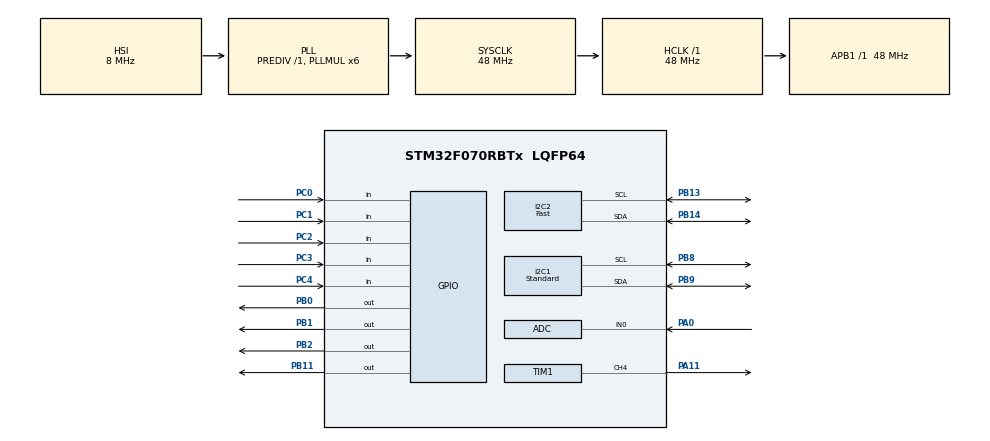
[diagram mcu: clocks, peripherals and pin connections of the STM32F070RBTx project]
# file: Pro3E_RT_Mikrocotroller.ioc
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I2C1.Analog_Filter=I2C_ANALOGFILTER_DISABLE
I2C1.I2C_Speed_Mode=I2C_Standard
I2C1.NoStretchMode=I2C_NOSTRETCH_DISABLE
I2C1.OwnAddress=0x60
I2C1.Speed=50
I2C1.Timing=0x1050DDFF
I2C2.I2C_Speed_Mode=I2C_Fast
I2C2.Timing=0x2010091A
Mcu.Family=STM32F0
Mcu.Name=STM32F070RBTx
Mcu.Package=LQFP64
PA0.Mode=IN0
PA0.Signal=ADC_IN0
PA11.Signal=S_TIM1_CH4
PA13.Mode=Serial_Wire
PA13.Signal=SYS_SWDIO
PA14.Mode=Serial_Wire
PA14.Signal=SYS_SWCLK
PB0.Signal=GPIO_Output
PB1.Signal=GPIO_Output
PB11.Signal=GPIO_Output
PB13.GPIO_Pu=GPIO_PULLUP
PB13.Mode=I2C
PB13.Signal=I2C2_SCL
PB14.GPIO_Pu=GPIO_PULLUP
PB14.Mode=I2C
PB14.Signal=I2C2_SDA
PB2.Signal=GPIO_Output
PB8.GPIO_Pu=GPIO_NOPULL
PB8.GPIO_Speed=GPIO_SPEED_FREQ_HIGH
PB8.Mode=I2C
PB8.Signal=I2C1_SCL
PB9.GPIO_Pu=GPIO_NOPULL
PB9.Mode=I2C
PB9.Signal=I2C1_SDA
PC0.Signal=GPIO_Input
PC1.Signal=GPIO_Input
PC2.Signal=GPIO_Input
PC3.Signal=GPIO_Input
PC4.Signal=GPIO_Input
ProjectManager.HeapSize=0x200
ProjectManager.StackSize=0x400
ProjectManager.TargetToolchain=STM32CubeIDE
RCC.AHBFreq_Value=48000000
RCC.APB1Freq_Value=48000000
RCC.APB1TimFreq_Value=48000000
RCC.HCLKFreq_Value=48000000
RCC.I2c1ClockSelection=RCC_I2C1CLKSOURCE_SYSCLK
RCC.PLLMUL=RCC_PLL_MUL6
RCC.SYSCLKFreq_VALUE=48000000
RCC.SYSCLKSource=RCC_SYSCLKSOURCE_PLLCLK
SH.S_TIM1_CH4.0=TIM1_CH4,PWM Generation4 CH4
TIM1.AutoReloadPreload=TIM_AUTORELOAD_PRELOAD_ENABLE
TIM1.Channel-PWM\ Generation4\ CH4=TIM_CHANNEL_4
TIM1.CounterMode=TIM_COUNTERMODE_UP
TIM1.OCFastMode_PWM-PWM\ Generation4\ CH4=TIM_OCFAST_DISABLE
TIM1.Period=2000
TIM1.Prescaler=0
TIM1.Pulse-PWM\ Generation4\ CH4=0
VP_TIM1_VS_ClockSourceINT.Mode=Internal
board=custom

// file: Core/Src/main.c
/* USER CODE BEGIN Header */
/**
  ******************************************************************************
  * @file           : main.c
  * @brief          : Main program body
  ******************************************************************************
  * @attention
  *
  * <h2><center>&copy; Copyright (c) 2021 STMicroelectronics.
  * All rights reserved.</center></h2>
  *
  * This software component is licensed by ST under BSD 3-Clause license,
  * the "License"; You may not use this file except in compliance with the
  * License. You may obtain a copy of the License at:
  *                        opensource.org/licenses/BSD-3-Clause
  *
  ******************************************************************************
  */
/* USER CODE END Header */
#include "main.h"

/* USER CODE BEGIN Includes */
#include <string.h>
#include <stdio.h>
#include <stdbool.h>
//#include "vcnl4040.h"
#include "ssd1306.h"
#include "ssd1306_tests.h"

/* USER CODE END Includes */

/* USER CODE BEGIN PD */

#define LOWER true
#define UPPER false

#define VCNL4040_ALS_CONF 0x00
#define VCNL4040_ALS_THDH 0x01
#define VCNL4040_ALS_THDL 0x02
#define VCNL4040_PS_CONF1 0x03 //Lower
#define VCNL4040_PS_CONF2 0x03 //Upper
#define VCNL4040_PS_CONF3 0x04 //Lower
#define VCNL4040_PS_MS 0x04 //Upper
#define VCNL4040_PS_CANC 0x05
#define VCNL4040_PS_THDL 0x06
#define VCNL4040_PS_THDH 0x07
#define VCNL4040_PS_DATA 0x08
#define VCNL4040_ALS_DATA 0x09
#define VCNL4040_WHITE_DATA 0x0A
#define VCNL4040_INT_FLAG 0x0B //Upper
#define VCNL4040_ID 0x0C

#define OLED_BORDER_OFFSET 5
#define OLED_LINE_HEIGHT 10

/* USER CODE END PD */

ADC_HandleTypeDef hadc;

I2C_HandleTypeDef hi2c1;
I2C_HandleTypeDef hi2c2;

TIM_HandleTypeDef htim1;

/* USER CODE BEGIN PV */
const uint8_t VCNL4040_ADDR = 0x60<<1; //7-bit unshifted I2C address of VCNL4040
const uint8_t RPZERO_ADDR = 0x03<<1;
HAL_StatusTypeDef send_command_vcnl4040(uint8_t address, uint8_t command, uint16_t data);

/* USER CODE END PV */

void SystemClock_Config(void);
static void MX_GPIO_Init(void);
static void MX_ADC_Init(void);
static void MX_TIM1_Init(void);
static void MX_I2C1_Init(void);
static void MX_I2C2_Init(void);
/* USER CODE BEGIN PFP */
void init_vcnl4040(void);
void receive_data_vcnl4040(void);
void user_pwm_setvalue(uint16_t value);
bool writeCommand(uint8_t commandCode, uint16_t value);
bool writeCommands(uint8_t commandCode, uint8_t lowbyte, uint8_t highbyte);
int32_t readSensor(uint8_t commandCode);
void oled_print(char text[], uint32_t line, SSD1306_COLOR color);

/* USER CODE END PFP */

int main(void)
{

  /* MCU Configuration--------------------------------------------------------*/

  /* Reset of all peripherals, Initializes the Flash interface and the Systick. */
  HAL_Init();

  /* Configure the system clock */
  SystemClock_Config();

  /* Initialize all configured peripherals */
  MX_GPIO_Init();
  MX_ADC_Init();
  MX_TIM1_Init();
  MX_I2C1_Init();
  MX_I2C2_Init();
  /* USER CODE BEGIN 2 */
  //init_vcnl4040();
  uint16_t pwm_value = 0;
  uint16_t step = 0;
  uint16_t prox = 0;
  int32_t CH1_DC = 0;
  char text[20];
  HAL_StatusTypeDef ret;
  uint8_t buf[12];

  HAL_TIM_PWM_Start(&htim1, TIM_CHANNEL_4);
  HAL_GPIO_WritePin(GPIOB, GPIO_PIN_2, GPIO_PIN_SET);

  ssd1306_Init();
  ssd1306_SetDisplayOn(1);
  ssd1306_Fill(White);
  CH1_DC = 10;
  /* USER CODE END 2 */

  /* Infinite loop */
  /* USER CODE BEGIN WHILE */
  while (1)
  {
	  /*setLEDCurrent(50); //Max IR LED current
	  	setIRDutyCycle(40); //Set to highest duty cycle
	  	setProxIntegrationTime(8); //Set to max integration
	  	setProxResolution(16); //Set to 16-bit output
	  	enableSmartPersistance(); //Turn on smart presistance
	  	powerOnProximity(); //Turn on prox sensing*/

	  /*buf[0] = 0x08;
	  // Init register of VCNL4040
		writeCommands(0x04, 0b00010010, 0b00000111); // PS_CONF3_L & PS_MS
		writeCommands(0x03, 0b11001110, 0b00001000); // PS_CONF1_L & PS_CONF2_H
	 // writeCommands(0x04, 0b00001000, 0b00000111); // PS_CONF3_L & PS_MS
	 // writeCommands(0x03, 0b11001111, 0b00001000); // PS_CONF1_L & PS_CONF2_H

	  //writeCommands(0x06, 0x00, 0x00); //PS Threashold

	  while(1){
		  static uint16_t data;
		  static uint16_t interupt;
		  static uint16_t info;
		  static uint16_t als;

		  // write and read back
		  /*while(1){
			  static uint16_t test = 0;
			  writeCommands(0x03, 0b11001110, 0b00001011);
			  test = readSensor(0x03);
		  }*/

		  //read back config registers
	  /*
		  data  = readSensor(0x08);
		  //als = readSensor(0x09);
		  //interupt = readSensor(0x0B);
		  info = readSensor(0x0C);
		  HAL_Delay(2000);
	  }

	  //ret = HAL_I2C_Master_Transmit(&hi2c1, VCNL4040_ADDR, buf[0], 1, HAL_MAX_DELAY);

	  /*while(1)
	  {
		  ret = HAL_I2C_Master_Receive(&hi2c1, VCNL4040_ADDR, buf, 2, HAL_MAX_DELAY);
		  if(ret != HAL_OK){

		  }else{
		  }

		  //send_command_vcnl4040(0x0C);
		 // HAL_I2C_Master_Receive(&hi2c1, VCNL4040_ADDR, data, sizeof(uint8_t), HAL_MAX_DELAY);
		  HAL_Delay(2000);
	  }*/

	  /*
	   * Testfunction for I2C-2 with Raspberry Pi Zero W
	   */
	  //uint8_t cnt = 0;
	  //snprintf(text, sizeof(text), "Test: %d", cnt++);

	 /* while(1){
		  ret = HAL_I2C_Master_Transmit(&hi2c2, RPZERO_ADDR, &cnt,1, HAL_MAX_DELAY);
		  HAL_Delay(200);
		  cnt++;
	  }*/

	  /*
	   * PWM
	   */
	  //HAL_Delay(100);
	  //if(pwm_value == 0) step = 100;
	  //if(pwm_value == 2000) step = -100;
	  //pwm_value += step;
	  //user_pwm_setvalue(pwm_value);

	  //Prescale of PWM: 1000 -> ~8kHz
	  /*while (CH1_DC < 2000)
		{
			TIM1->CCR4 = CH1_DC;
			CH1_DC += 10;
			HAL_Delay(100);
		}
		while(CH1_DC > 0)
		{
			TIM1->CCR4 = CH1_DC;
			CH1_DC -= 10;
			HAL_Delay(100);
		}*/
	  /*/
	   * OLED
	   */
	  static int n = 0;
	  snprintf(text, sizeof(text), "Test: %d", n++);
	  oled_print(text, 1, Black);

/*
	   * VCNL4040
	   */
	  //get Proximity
	  /*
	  prox = getProximity();
	  snprintf(text, sizeof(text), "Dist: %d", prox);
	  oled_print(text, 2, Black);
	  */

	  HAL_Delay(2000);

    /* USER CODE END WHILE */

  }
}

void SystemClock_Config(void)
{
  RCC_OscInitTypeDef RCC_OscInitStruct = {0};
  RCC_ClkInitTypeDef RCC_ClkInitStruct = {0};
  RCC_PeriphCLKInitTypeDef PeriphClkInit = {0};

  /** Initializes the RCC Oscillators according to the specified parameters
  * in the RCC_OscInitTypeDef structure.
  */
  RCC_OscInitStruct.OscillatorType = RCC_OSCILLATORTYPE_HSI|RCC_OSCILLATORTYPE_HSI14;
  RCC_OscInitStruct.HSIState = RCC_HSI_ON;
  RCC_OscInitStruct.HSI14State = RCC_HSI14_ON;
  RCC_OscInitStruct.HSICalibrationValue = RCC_HSICALIBRATION_DEFAULT;
  RCC_OscInitStruct.HSI14CalibrationValue = 16;
  RCC_OscInitStruct.PLL.PLLState = RCC_PLL_ON;
  RCC_OscInitStruct.PLL.PLLSource = RCC_PLLSOURCE_HSI;
  RCC_OscInitStruct.PLL.PLLMUL = RCC_PLL_MUL6;
  RCC_OscInitStruct.PLL.PREDIV = RCC_PREDIV_DIV1;
  if (HAL_RCC_OscConfig(&RCC_OscInitStruct) != HAL_OK)
  {
    Error_Handler();
  }
  /** Initializes the CPU, AHB and APB buses clocks
  */
  RCC_ClkInitStruct.ClockType = RCC_CLOCKTYPE_HCLK|RCC_CLOCKTYPE_SYSCLK
                              |RCC_CLOCKTYPE_PCLK1;
  RCC_ClkInitStruct.SYSCLKSource = RCC_SYSCLKSOURCE_PLLCLK;
  RCC_ClkInitStruct.AHBCLKDivider = RCC_SYSCLK_DIV1;
  RCC_ClkInitStruct.APB1CLKDivider = RCC_HCLK_DIV1;

  if (HAL_RCC_ClockConfig(&RCC_ClkInitStruct, FLASH_LATENCY_1) != HAL_OK)
  {
    Error_Handler();
  }
  PeriphClkInit.PeriphClockSelection = RCC_PERIPHCLK_I2C1;
  PeriphClkInit.I2c1ClockSelection = RCC_I2C1CLKSOURCE_SYSCLK;
  if (HAL_RCCEx_PeriphCLKConfig(&PeriphClkInit) != HAL_OK)
  {
    Error_Handler();
  }
}

static void MX_ADC_Init(void)
{

  ADC_ChannelConfTypeDef sConfig = {0};

  /** Configure the global features of the ADC (Clock, Resolution, Data Alignment and number of conversion)
  */
  hadc.Instance = ADC1;
  hadc.Init.ClockPrescaler = ADC_CLOCK_ASYNC_DIV1;
  hadc.Init.Resolution = ADC_RESOLUTION_12B;
  hadc.Init.DataAlign = ADC_DATAALIGN_RIGHT;
  hadc.Init.ScanConvMode = ADC_SCAN_DIRECTION_FORWARD;
  hadc.Init.EOCSelection = ADC_EOC_SINGLE_CONV;
  hadc.Init.LowPowerAutoWait = DISABLE;
  hadc.Init.LowPowerAutoPowerOff = DISABLE;
  hadc.Init.ContinuousConvMode = DISABLE;
  hadc.Init.DiscontinuousConvMode = DISABLE;
  hadc.Init.ExternalTrigConv = ADC_SOFTWARE_START;
  hadc.Init.ExternalTrigConvEdge = ADC_EXTERNALTRIGCONVEDGE_NONE;
  hadc.Init.DMAContinuousRequests = DISABLE;
  hadc.Init.Overrun = ADC_OVR_DATA_PRESERVED;
  if (HAL_ADC_Init(&hadc) != HAL_OK)
  {
    Error_Handler();
  }
  /** Configure for the selected ADC regular channel to be converted.
  */
  sConfig.Channel = ADC_CHANNEL_0;
  sConfig.Rank = ADC_RANK_CHANNEL_NUMBER;
  sConfig.SamplingTime = ADC_SAMPLETIME_1CYCLE_5;
  if (HAL_ADC_ConfigChannel(&hadc, &sConfig) != HAL_OK)
  {
    Error_Handler();
  }

}

static void MX_I2C1_Init(void)
{

  hi2c1.Instance = I2C1;
  hi2c1.Init.Timing = 0x1050DDFF;
  hi2c1.Init.OwnAddress1 = 192;
  hi2c1.Init.AddressingMode = I2C_ADDRESSINGMODE_7BIT;
  hi2c1.Init.DualAddressMode = I2C_DUALADDRESS_DISABLE;
  hi2c1.Init.OwnAddress2 = 0;
  hi2c1.Init.OwnAddress2Masks = I2C_OA2_NOMASK;
  hi2c1.Init.GeneralCallMode = I2C_GENERALCALL_DISABLE;
  hi2c1.Init.NoStretchMode = I2C_NOSTRETCH_DISABLE;
  if (HAL_I2C_Init(&hi2c1) != HAL_OK)
  {
    Error_Handler();
  }
  /** Configure Analogue filter
  */
  if (HAL_I2CEx_ConfigAnalogFilter(&hi2c1, I2C_ANALOGFILTER_DISABLE) != HAL_OK)
  {
    Error_Handler();
  }
  /** Configure Digital filter
  */
  if (HAL_I2CEx_ConfigDigitalFilter(&hi2c1, 0) != HAL_OK)
  {
    Error_Handler();
  }

}

static void MX_I2C2_Init(void)
{

  hi2c2.Instance = I2C2;
  hi2c2.Init.Timing = 0x2010091A;
  hi2c2.Init.OwnAddress1 = 0;
  hi2c2.Init.AddressingMode = I2C_ADDRESSINGMODE_7BIT;
  hi2c2.Init.DualAddressMode = I2C_DUALADDRESS_DISABLE;
  hi2c2.Init.OwnAddress2 = 0;
  hi2c2.Init.OwnAddress2Masks = I2C_OA2_NOMASK;
  hi2c2.Init.GeneralCallMode = I2C_GENERALCALL_DISABLE;
  hi2c2.Init.NoStretchMode = I2C_NOSTRETCH_DISABLE;
  if (HAL_I2C_Init(&hi2c2) != HAL_OK)
  {
    Error_Handler();
  }
  /** Configure Analogue filter
  */
  if (HAL_I2CEx_ConfigAnalogFilter(&hi2c2, I2C_ANALOGFILTER_ENABLE) != HAL_OK)
  {
    Error_Handler();
  }
  /** Configure Digital filter
  */
  if (HAL_I2CEx_ConfigDigitalFilter(&hi2c2, 0) != HAL_OK)
  {
    Error_Handler();
  }

}

static void MX_TIM1_Init(void)
{

  TIM_ClockConfigTypeDef sClockSourceConfig = {0};
  TIM_MasterConfigTypeDef sMasterConfig = {0};
  TIM_OC_InitTypeDef sConfigOC = {0};
  TIM_BreakDeadTimeConfigTypeDef sBreakDeadTimeConfig = {0};

  htim1.Instance = TIM1;
  htim1.Init.Prescaler = 0;
  htim1.Init.CounterMode = TIM_COUNTERMODE_UP;
  htim1.Init.Period = 2000;
  htim1.Init.ClockDivision = TIM_CLOCKDIVISION_DIV1;
  htim1.Init.RepetitionCounter = 0;
  htim1.Init.AutoReloadPreload = TIM_AUTORELOAD_PRELOAD_ENABLE;
  if (HAL_TIM_Base_Init(&htim1) != HAL_OK)
  {
    Error_Handler();
  }
  sClockSourceConfig.ClockSource = TIM_CLOCKSOURCE_INTERNAL;
  if (HAL_TIM_ConfigClockSource(&htim1, &sClockSourceConfig) != HAL_OK)
  {
    Error_Handler();
  }
  if (HAL_TIM_PWM_Init(&htim1) != HAL_OK)
  {
    Error_Handler();
  }
  sMasterConfig.MasterOutputTrigger = TIM_TRGO_RESET;
  sMasterConfig.MasterSlaveMode = TIM_MASTERSLAVEMODE_DISABLE;
  if (HAL_TIMEx_MasterConfigSynchronization(&htim1, &sMasterConfig) != HAL_OK)
  {
    Error_Handler();
  }
  sConfigOC.OCMode = TIM_OCMODE_PWM1;
  sConfigOC.Pulse = 0;
  sConfigOC.OCPolarity = TIM_OCPOLARITY_HIGH;
  sConfigOC.OCFastMode = TIM_OCFAST_DISABLE;
  sConfigOC.OCIdleState = TIM_OCIDLESTATE_RESET;
  sConfigOC.OCNIdleState = TIM_OCNIDLESTATE_RESET;
  if (HAL_TIM_PWM_ConfigChannel(&htim1, &sConfigOC, TIM_CHANNEL_4) != HAL_OK)
  {
    Error_Handler();
  }
  sBreakDeadTimeConfig.OffStateRunMode = TIM_OSSR_DISABLE;
  sBreakDeadTimeConfig.OffStateIDLEMode = TIM_OSSI_DISABLE;
  sBreakDeadTimeConfig.LockLevel = TIM_LOCKLEVEL_OFF;
  sBreakDeadTimeConfig.DeadTime = 0;
  sBreakDeadTimeConfig.BreakState = TIM_BREAK_DISABLE;
  sBreakDeadTimeConfig.BreakPolarity = TIM_BREAKPOLARITY_HIGH;
  sBreakDeadTimeConfig.AutomaticOutput = TIM_AUTOMATICOUTPUT_DISABLE;
  if (HAL_TIMEx_ConfigBreakDeadTime(&htim1, &sBreakDeadTimeConfig) != HAL_OK)
  {
    Error_Handler();
  }
  HAL_TIM_MspPostInit(&htim1);

}

static void MX_GPIO_Init(void)
{
  GPIO_InitTypeDef GPIO_InitStruct = {0};

  /* GPIO Ports Clock Enable */
  __HAL_RCC_GPIOC_CLK_ENABLE();
  __HAL_RCC_GPIOA_CLK_ENABLE();
  __HAL_RCC_GPIOB_CLK_ENABLE();

  /*Configure GPIO pin Output Level */
  HAL_GPIO_WritePin(GPIOB, GPIO_PIN_0|GPIO_PIN_1|GPIO_PIN_2|GPIO_PIN_11, GPIO_PIN_RESET);

  /*Configure GPIO pins : PC0 PC1 PC2 PC3
                           PC4 */
  GPIO_InitStruct.Pin = GPIO_PIN_0|GPIO_PIN_1|GPIO_PIN_2|GPIO_PIN_3
                          |GPIO_PIN_4;
  GPIO_InitStruct.Mode = GPIO_MODE_INPUT;
  GPIO_InitStruct.Pull = GPIO_NOPULL;
  HAL_GPIO_Init(GPIOC, &GPIO_InitStruct);

  /*Configure GPIO pins : PB0 PB1 PB2 PB11 */
  GPIO_InitStruct.Pin = GPIO_PIN_0|GPIO_PIN_1|GPIO_PIN_2|GPIO_PIN_11;
  GPIO_InitStruct.Mode = GPIO_MODE_OUTPUT_PP;
  GPIO_InitStruct.Pull = GPIO_NOPULL;
  GPIO_InitStruct.Speed = GPIO_SPEED_FREQ_LOW;
  HAL_GPIO_Init(GPIOB, &GPIO_InitStruct);

}

/* USER CODE BEGIN 4 */
void init_vcnl4040(void){
	//if (getID() != 0x0186) return (false); //Check default ID value
	setLEDCurrent(50); //Max IR LED current
	setIRDutyCycle(40); //Set to highest duty cycle
	setProxIntegrationTime(8); //Set to max integration
	setProxResolution(16); //Set to 16-bit output
	enableSmartPersistance(); //Turn on smart presistance
	powerOnProximity(); //Turn on prox sensing

	 //send_command_vcnl4040(VCNL4040_ADDR,VCNL4040_PS_CONF2,(0b00001011)<<8); //enable 16-bit PS
	 //Default -> more to add for specific funcions
}

HAL_StatusTypeDef send_command_vcnl4040(uint8_t address, uint8_t command, uint16_t data){
	static uint8_t buf[4];
	buf[0] = address&0x01;
	buf[1] = command;
	buf[2] = data;
	return(HAL_I2C_Master_Transmit(&hi2c1, address, buf ,4, HAL_MAX_DELAY));
}

int32_t readSensor(uint8_t commandCode)
{

	uint16_t MemoryAdresse = (commandCode<<8) + (VCNL4040_ADDR+1);
	uint8_t databuf[2] = {0x00, 0x00};

	HAL_StatusTypeDef ret = HAL_I2C_Mem_Read(&hi2c1, VCNL4040_ADDR, MemoryAdresse, 2, databuf, 2, HAL_MAX_DELAY);
	//HAL_StatusTypeDef ret = HAL_I2C_Master_Transmit(&hi2c1, VCNL4040_ADDR, data, 2, HAL_MAX_DELAY);
	//HAL_StatusTypeDef ret = HAL_I2C_Mem_Read(&hi2c1, VCNL4040_ADDR, commandCode, 2, data, 2, HAL_MAX_DELAY);
	//HAL_I2C_Mem_Write(&hi2c1, VCNL4040_ADDR, commandCode, uint, pData, Size, Timeout)

   if (ret != HAL_OK) //Send a restart command. Do not release bus.
    {
      return (-1); //Sensor did not ACK
    }
    //ret = HAL_I2C_Master_Receive(&hi2c1, VCNL4040_ADDR, data, 2, HAL_MAX_DELAY);
    if(ret == HAL_OK)
    {
    	return((databuf[1]<<8) + databuf[0]);
    }
     return (-1); //Sensor did not respond
}

bool writeCommand(uint8_t commandCode, uint16_t value)
{
	uint8_t	LSB =  (value & 0xFF);
	uint8_t MSB = (value >> 8);
	return (writeCommands(commandCode, LSB, MSB));
}

bool writeCommands(uint8_t commandCode, uint8_t lowbyte, uint8_t highbyte)
{
	static HAL_StatusTypeDef ret;
	//uint8_t	LSB =  lowbyte;
	//uint8_t MSB = highbyte;
	static uint8_t data[3];
	data[0] = commandCode;
	data[1] = lowbyte;
	data[2] = highbyte;

	//HAL_I2C_MAster
   ret = HAL_I2C_Master_Transmit(&hi2c1, VCNL4040_ADDR, data, 3, HAL_MAX_DELAY);
   //ret = HAL_I2C_Master_Transmit(&hi2c1, VCNL4040_ADDR, data, 2, HAL_MAX_DELAY);
   //ret = HAL_I2C_Master_Transmit(&hi2c1, VCNL4040_ADDR, &MSB, 1, HAL_MAX_DELAY);
   //HAL_StatusTypeDef ret = HAL_I2C_Master_Transmit(&hi2c1, VCNL4040_ADDR, &commandCode, 1, HAL_MAX_DELAY);
   if(ret != HAL_OK){
	   return (false); //Sensor did not ACK
   }
   return true;
}

void read_data_vcnl4040(uint8_t address, uint8_t command){
	//static uint8_t buf[3];
	//buf[0] = address&0x01;
	//buf[1] = command;
	//buf[2] = address&0x01;
	//HAL_I2C_Master_Transmit(&hi2c1, VCNL4040_ADDR, pData, 1, HAL_MAX_DELAY)
}

void user_pwm_setvalue(uint16_t value)
{

}

void oled_print(char text[], uint32_t line, SSD1306_COLOR color){
	  ssd1306_SetCursor(OLED_BORDER_OFFSET, (line-1)*OLED_LINE_HEIGHT+OLED_BORDER_OFFSET);
	  ssd1306_WriteString(text,  Font_6x8, color);
	  ssd1306_UpdateScreen();
}

/* USER CODE END 4 */

void Error_Handler(void)
{
  __disable_irq();
  while (1)
  {
  }
}

/************************ (C) COPYRIGHT STMicroelectronics *****END OF FILE****/
